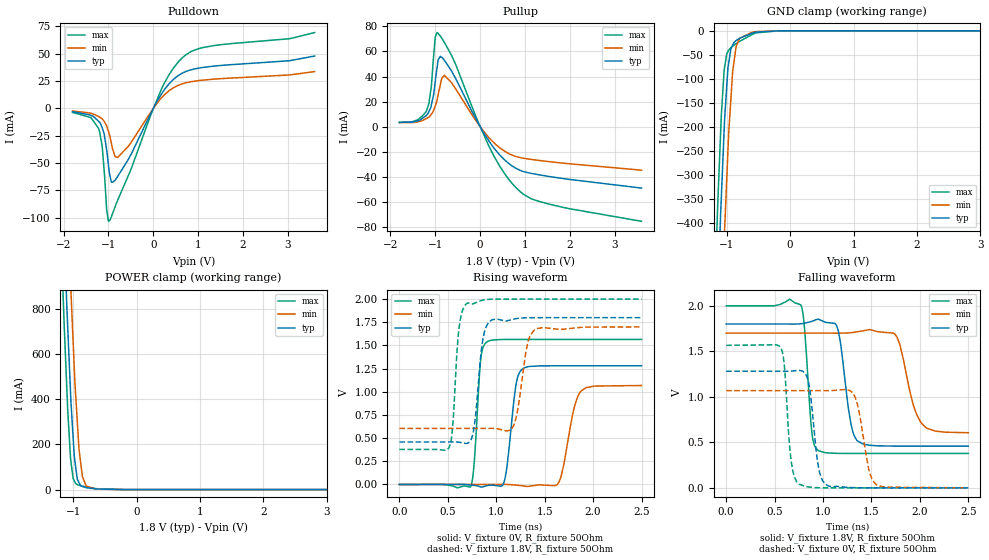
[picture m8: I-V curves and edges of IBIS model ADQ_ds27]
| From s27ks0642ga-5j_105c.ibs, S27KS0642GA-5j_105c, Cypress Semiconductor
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[Model]   ADQ_ds27
Model_type   I/O
Polarity   Non-Inverting
Enable   Active-High
Vinl = 0.54
Vinh = 1.26
Vmeas = 0.9
Vref = 0.9
Cref = 15pF
|   typ   min   max
C_comp   1.03pF   1.01pF   1.05pF
[Voltage Range]   1.8   1.7   2
[Temperature Range]   25   105   -40
[Pullup Reference]   1.8   1.7   2
[Pulldown Reference]   0   0   0
[Power Clamp Reference]   1.8   1.7   2
[GND Clamp Reference]   0   0   0
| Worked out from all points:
|   slope of the pulldown table from 0 to 0.27 V, typ, clamps not added: 14.7 ohm
|   slope of the pullup table from 0 to 0.27 V, typ, clamps not added: 17.7 ohm
|   falling waveform, V_fixture 1.8V, R_fixture 50Ohm: 20-80 % time 96.3ps typ, 147ps min, 61.6ps max; typ from 1.8 V to 0.458 V
|   rising waveform, V_fixture 0V, R_fixture 50Ohm: 20-80 % time 78.8ps typ, 115ps min, 53.5ps max; typ from 0 V to 1.28 V
|   rising waveform, V_fixture 1.8V, R_fixture 50Ohm: 20-80 % time 72ps typ, 91.4ps min, 59.2ps max; typ from 0.458 V to 1.8 V
|   falling waveform, V_fixture 0V, R_fixture 50Ohm: 20-80 % time 78.4ps typ, 102ps min, 61.4ps max; typ from 1.28 V to 0 V
[Pulldown]
|   Voltage   I(typ)   I(min)   I(max)
-1.8V     -2.948mA   -2.335mA   -3.666mA
-1.388V   -6.449mA   -4.561mA   -8.67mA
-1.22V    -11.79mA   -7.452mA   -18.25mA
-1.14V    -17.65mA   -9.512mA   -34.28mA
-1.04V    -37.62mA   -16.01mA   -92.16mA
-1V       -51.67mA   -21.09mA   -103.2mA
-934.2mV  -67.41mA   -31.91mA   -99.03mA
-794mV    -62.19mA   -44.8mA    -83.91mA
188mV     13.38mA    9.871mA    18.18mA
644mV     32.16mA    22.45mA    46.12mA
1.118V    37.49mA    25.87mA    55.67mA
3.6V      47.88mA    33.66mA    69.29mA
[GND Clamp]
|   Voltage   I(typ)   I(min)   I(max)
-1.8V     -3.484A    -3.741A    -3.305A
-1.161V   -623.7mA   -894.6mA   -433.7mA
-1.145V   -565.7mA   -830.4mA   -374mA
-1.098V   -385.9mA   -645.9mA   -215.9mA
-1.086V   -348mA     -601.1mA   -176.7mA
-1.032V   -179.1mA   -407.1mA   -73.7mA
-981mV    -76.7mA    -247.8mA   -43.01mA
-907.5mV  -29.9mA    -84.86mA   -31.88mA
-853.1mV  -20.33mA   -33.35mA   -26.82mA
-796mV    -15.47mA   -15.39mA   -21.88mA
-178.2mV  -231.9nA   -824.9nA   -331.4nA
3.6V      0A         0A         0A
[Pullup]
|   Voltage   I(typ)   I(min)   I(max)
-1.8V     3.385mA    3.249mA    3.467mA
-1.202V   8.811mA    6.448mA    11.97mA
-1.14V    12.14mA    7.705mA    18.79mA
-1.086V   17.39mA    9.997mA    32.35mA
-1V       36.05mA    16.54mA    71.51mA
-960mV    46.96mA    21.31mA    75.11mA
-885.6mV  56.1mA     33.7mA     72.28mA
-794mV    52.92mA    40.94mA    67.14mA
255.3mV   -14.47mA   -10.99mA   -19.77mA
902mV     -35.02mA   -24.81mA   -52.12mA
1.55V     -39.85mA   -28mA      -61.95mA
3.6V      -49.04mA   -34.75mA   -75.58mA
[POWER Clamp]
|   Voltage   I(typ)   I(min)   I(max)
-1.8V     6.849A     7.358A     6.488A
-1.186V   1.481A     2.043A     1.081A
-1.145V   1.162A     1.706A     763.6mA
-1.115V   929.9mA    1.465A     551.6mA
-1.098V   802.1mA    1.339A     437.1mA
-1.035V   390.7mA    881.2mA    124.8mA
-982mV    148.4mA    538.6mA    38.85mA
-934.2mV  46.72mA    300.1mA    22.28mA
-908mV    31.37mA    180.7mA    19.34mA
-853.1mV  13.3mA     56.68mA    15.46mA
-642.6mV  3.025mA    2.373mA    4.452mA
3.6V      0A         0A         0A
[Ramp]
R_load = 50
|   typ   min   max
dV/dt_r 7.6855E-01/7.8329E-11   6.4068E-01/1.1415E-10   9.3920E-01/5.3452E-11
dV/dt_f 8.0496E-01/9.6094E-11   6.5669E-01/1.4541E-10   9.7326E-01/6.1506E-11
[Falling Waveform]
V_fixture = 1.8V
V_fixture_min = 1.7V
V_fixture_max = 2V
R_fixture = 50Ohm
C_fixture = 0F
|   Time   V(typ)   V(min)   V(max)
0s        1.8V       1.7V       2V
770ps     1.802V     1.7V       2.011V
885ps     1.829V     1.7V       605.6mV
950ps     1.853V     1.7V       411.1mV
1.15ns    1.753V     1.699V     379.1mV
1.285ns   720.1mV    1.704V     378.1mV
1.355ns   516.1mV    1.715V     378mV
1.74ns    458.9mV    1.691V     377.9mV
2.055ns   458.4mV    667.7mV    377.9mV
2.5ns     458.4mV    605.5mV    377.9mV
[Rising Waveform]
V_fixture = 0V
V_fixture_min = 0V
V_fixture_max = 0V
R_fixture = 50Ohm
C_fixture = 0F
|   Time   V(typ)   V(min)   V(max)
0s        0V         0V         0V
740ps     -6.089mV   0V         -13.8mV
840ps     -26.51mV   0V         1.352V
910ps     -11.5mV    -27.37uV   1.543V
1.08ns    22.92mV    540.8uV    1.565V
1.2ns     1.048V     -6.82mV    1.565V
1.265ns   1.242V     -13.66mV   1.565V
1.645ns   1.281V     21.38mV    1.565V
1.88ns    1.281V     1.012V     1.565V
2.5ns     1.281V     1.068V     1.565V
[Rising Waveform]
V_fixture = 1.8V
V_fixture_min = 1.7V
V_fixture_max = 2V
R_fixture = 50Ohm
C_fixture = 0F
|   Time   V(typ)   V(min)   V(max)
0s        458.4mV    604.6mV    377.9mV
510ps     458.4mV    604.6mV    392.9mV
550ps     458.7mV    604.6mV    621.6mV
615ps     455.9mV    604.6mV    1.677V
695ps     443.4mV    604.6mV    1.952V
865ps     1.583V     604.6mV    1.99V
950ps     1.773V     605.4mV    1.999V
1.18ns    1.784V     635.1mV    2V
1.395ns   1.8V       1.666V     2V
2.5ns     1.8V       1.7V       2V
[Falling Waveform]
|Gnd
V_fixture = 0V
V_fixture_min = 0V
V_fixture_max = 0V
R_fixture = 50Ohm
C_fixture = 0F
|   Time   V(typ)   V(min)   V(max)
0s        1.281V     1.068V     1.565V
565ps     1.281V     1.068V     1.537V
670ps     1.282V     1.068V     301.4mV
750ps     1.29V      1.068V     41.75mV
845ps     1.182V     1.068V     10.61mV
955ps     216.5mV    1.068V     1.55mV
1.05ns    23.02mV    1.068V     275.4uV
1.32ns    2.264mV    1.022V     5.819uV
1.555ns   83.59uV    33.11mV    0V
2.5ns     0V         9.032uV    0V
